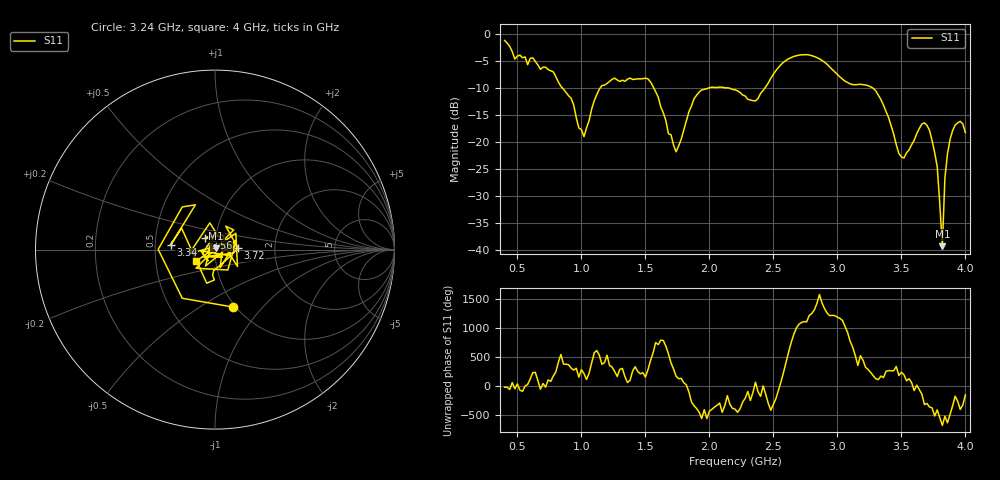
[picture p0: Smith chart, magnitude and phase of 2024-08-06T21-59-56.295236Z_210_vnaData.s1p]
!Created with skrf (http://scikit-rf.org).
# Hz S RI R 50.0
!freq ReS11 ImS11
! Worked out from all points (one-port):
!   181 points, 400 MHz to 4 GHz, reference 50 ohm
!   lowest |S11| = -39.2 dB at 3.82 GHz (marker M1), VSWR 1.02, Z = 50.7 + j0.823 ohm
!   |S11| at or under -10 dB: 854 MHz to 1.145 GHz (290.7 MHz wide, 29.1 % of centre); 1.567 GHz to 1.987 GHz (420.5 MHz wide, 23.7 % of centre); 3.28 GHz to end of sweep (the widest 3 of 4)
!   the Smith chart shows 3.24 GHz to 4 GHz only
!   S11 on the Smith chart (normalised r, x): 3.24 GHz: 0.97, -0.70; 3.34 GHz: 0.60, +0.03; 3.56 GHz: 0.89, +0.12; 3.72 GHz: 1.30, +0.02; 4 GHz: 0.80, -0.11
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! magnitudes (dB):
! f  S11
! 400 MHz  -1.1
! 480 MHz  -4.6
! 620 MHz  -4.3
! 860 MHz  -10.2
! 1.02 GHz  -18.9
! 1.14 GHz  -10.2
! 1.3 GHz  -8.7
! 1.52 GHz  -8.2
! 1.74 GHz  -21.7
! 1.76 GHz  -20.6
! 1.92 GHz  -10.7
! 2.2 GHz  -10.3
! 2.36 GHz  -12.3
! 2.66 GHz  -4.1
! 2.86 GHz  -4.5
! 3.1 GHz  -9.2
! 3.24 GHz  -9.5
! 3.34 GHz  -12.1
! 3.48 GHz  -22.0
! 3.56 GHz  -21.4
! 3.66 GHz  -16.6
! 3.72 GHz  -17.8
! 3.78 GHz  -24.6
! 3.82 GHz  -39.2
! 3.84 GHz  -26.6
! 3.88 GHz  -19.5
! 3.96 GHz  -16.1
! 4 GHz  -18.2
